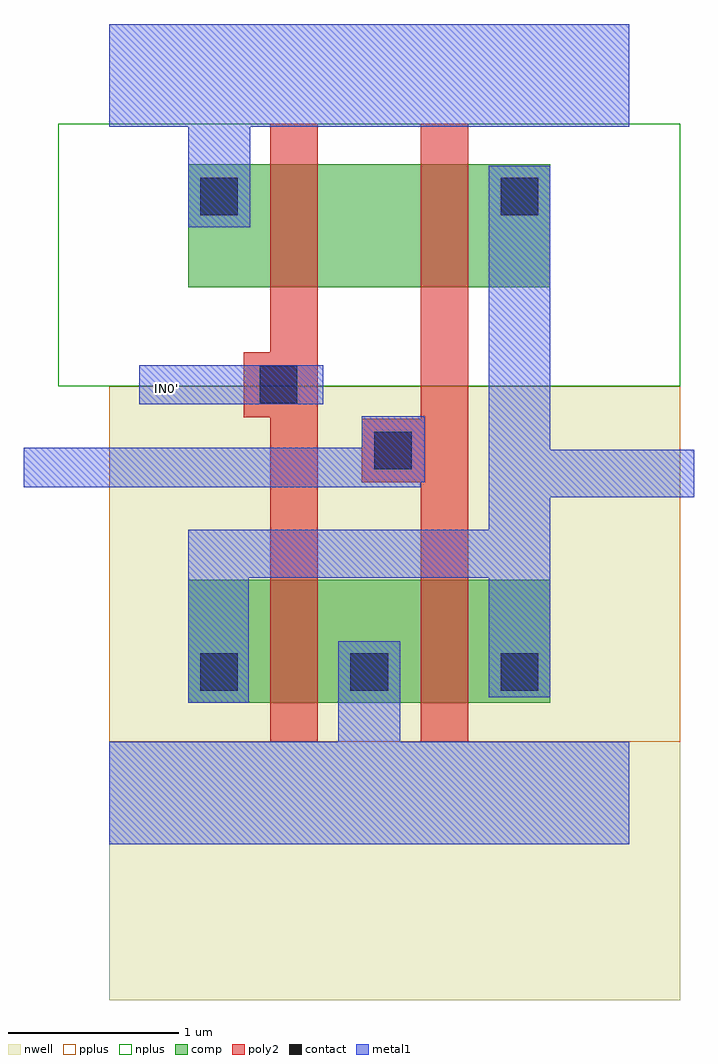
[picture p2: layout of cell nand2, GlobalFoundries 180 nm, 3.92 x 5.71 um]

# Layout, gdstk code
import gdstk
lib = gdstk.Library(unit=1e-6, precision=5e-09)
def R(c, l, rs):  # rectangles x0, y0, x1, y1
    for r in rs: c.add(gdstk.rectangle(r[:2], r[2:], *l))
def A(c, l, x, y, w, h, nx, ny, dx, dy):  # array of equal rectangles
    R(c, l, [(x+i*dx, y+j*dy, x+i*dx+w, y+j*dy+h) for i in range(nx) for j in range(ny)])
nwell = (21, 0)
comp = (22, 0)
poly2 = (30, 0)
pplus = (31, 0)
nplus = (32, 0)
contact = (33, 0)
metal1 = (34, 0)

nand2 = lib.new_cell('nand2')
R(nand2, nwell, [(9.245,-4.67,12.585,-1.08)])
R(nand2, comp, [(9.705,-2.93,11.825,-2.21), (9.705,-0.5,11.825,0.22)])
R(nand2, poly2, [(10.185,-3.16,10.465,0.455), (11.065,-3.16,11.345,0.455), (10.72,-1.64,11.09,-1.27), (10.03,-1.26,10.465,-0.88)])
R(nand2, pplus, [(9.245,-3.16,12.585,-1.08)])
R(nand2, nplus, [(8.945,-1.08,12.585,0.455)])
A(nand2, contact, 9.775, -2.86, 0.22, 0.22, 3, 1, 0.88, 0)
R(nand2, contact, [(10.795,-1.565,11.015,-1.345), (10.125,-1.18,10.345,-0.96), (9.775,-0.08,9.995,0.14), (11.535,-0.08,11.755,0.14)])
R(nand2, metal1, [(9.245,-3.76,12.285,-3.16), (10.585,-3.16,10.945,-2.57), (9.705,-2.93,10.06,-1.92), (11.465,-2.9,11.825,0.21), (9.705,-2.2,11.825,-1.92), (11.825,-1.73,12.665,-1.45), (8.745,-1.67,11.065,-1.44), (10.72,-1.64,11.09,-1.255), (9.42,-1.185,10.495,-0.955), (9.705,-0.15,10.07,0.44), (9.245,0.44,12.285,1.04)])
nand2.add(gdstk.Label("IN0'", (9.58,-1.095), layer=35, texttype=0))

lib.write_gds('nand2.gds')
